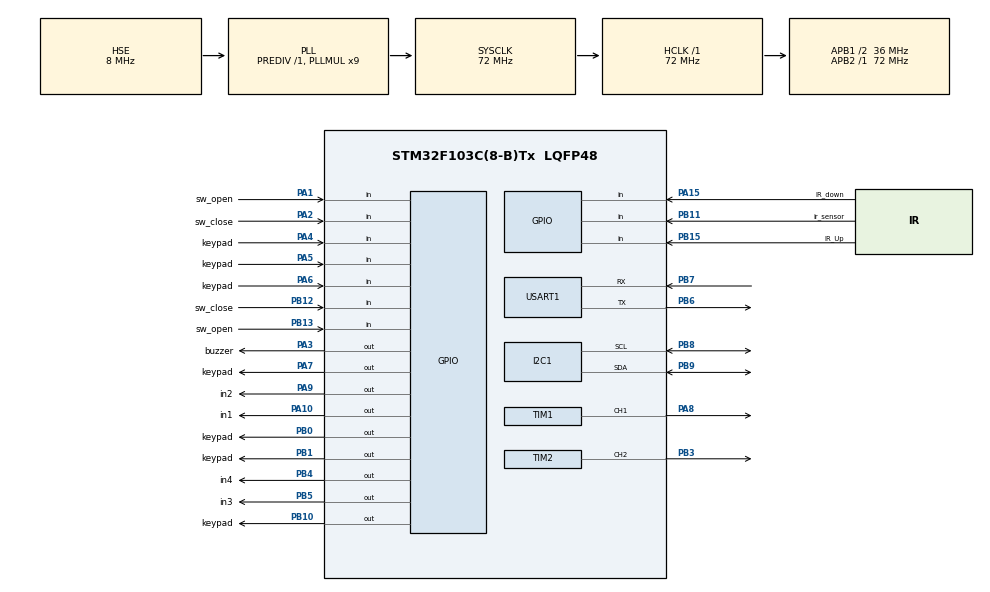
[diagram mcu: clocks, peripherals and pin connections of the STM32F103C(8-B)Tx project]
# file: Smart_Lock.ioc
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Mcu.Family=STM32F1
Mcu.Name=STM32F103C(8-B)Tx
Mcu.Package=LQFP48
NVIC.PriorityGroup=NVIC_PRIORITYGROUP_4
PA1.GPIO_Label=sw_open
PA1.GPIO_PuPd=GPIO_NOPULL
PA1.Signal=GPIO_Input
PA10.GPIO_Label=in1
PA10.Signal=GPIO_Output
PA13.Mode=Serial_Wire
PA13.Signal=SYS_JTMS-SWDIO
PA14.Mode=Serial_Wire
PA14.Signal=SYS_JTCK-SWCLK
PA15.GPIO_Label=IR_down
PA15.GPIO_PuPd=GPIO_PULLUP
PA15.Signal=GPIO_Input
PA2.GPIO_Label=sw_close
PA2.GPIO_PuPd=GPIO_NOPULL
PA2.Signal=GPIO_Input
PA3.GPIO_Label=buzzer
PA3.Signal=GPIO_Output
PA4.GPIO_Label=keypad
PA4.GPIO_PuPd=GPIO_PULLUP
PA4.Signal=GPIO_Input
PA5.GPIO_Label=keypad
PA5.GPIO_PuPd=GPIO_PULLUP
PA5.Signal=GPIO_Input
PA6.GPIO_Label=keypad
PA6.GPIO_PuPd=GPIO_PULLUP
PA6.Signal=GPIO_Input
PA7.GPIO_Label=keypad
PA7.Signal=GPIO_Output
PA8.Signal=S_TIM1_CH1
PA9.GPIO_Label=in2
PA9.Signal=GPIO_Output
PB0.GPIO_Label=keypad
PB0.Signal=GPIO_Output
PB1.GPIO_Label=keypad
PB1.Signal=GPIO_Output
PB10.GPIO_Label=keypad
PB10.Signal=GPIO_Output
PB11.GPIO_Label=ir_sensor
PB11.GPIO_PuPd=GPIO_PULLUP
PB11.Signal=GPIO_Input
PB12.GPIO_Label=sw_close
PB12.GPIO_PuPd=GPIO_NOPULL
PB12.Signal=GPIO_Input
PB13.GPIO_Label=sw_open
PB13.GPIO_PuPd=GPIO_NOPULL
PB13.Signal=GPIO_Input
PB15.GPIO_Label=IR_Up
PB15.GPIO_PuPd=GPIO_PULLUP
PB15.Signal=GPIO_Input
PB3.Signal=S_TIM2_CH2
PB4.GPIO_Label=in4
PB4.Signal=GPIO_Output
PB5.GPIO_Label=in3
PB5.Signal=GPIO_Output
PB6.Mode=Asynchronous
PB6.Signal=USART1_TX
PB7.Mode=Asynchronous
PB7.Signal=USART1_RX
PB8.Mode=I2C
PB8.Signal=I2C1_SCL
PB9.Mode=I2C
PB9.Signal=I2C1_SDA
PD0-OSC_IN.Mode=HSE-External-Oscillator
PD0-OSC_IN.Signal=RCC_OSC_IN
PD1-OSC_OUT.Mode=HSE-External-Oscillator
PD1-OSC_OUT.Signal=RCC_OSC_OUT
ProjectManager.HeapSize=0x200
ProjectManager.StackSize=0x400
ProjectManager.TargetToolchain=MDK-ARM V5.32
RCC.AHBFreq_Value=72000000
RCC.APB1CLKDivider=RCC_HCLK_DIV2
RCC.APB1Freq_Value=36000000
RCC.APB1TimFreq_Value=72000000
RCC.APB2Freq_Value=72000000
RCC.APB2TimFreq_Value=72000000
RCC.HCLKFreq_Value=72000000
RCC.PLLMUL=RCC_PLL_MUL9
RCC.PLLSourceVirtual=RCC_PLLSOURCE_HSE
RCC.SYSCLKFreq_VALUE=72000000
RCC.SYSCLKSource=RCC_SYSCLKSOURCE_PLLCLK
RCC.USBFreq_Value=72000000
SH.S_TIM1_CH1.0=TIM1_CH1,PWM Generation1 CH1
SH.S_TIM2_CH2.0=TIM2_CH2,PWM Generation2 CH2
TIM1.AutoReloadPreload=TIM_AUTORELOAD_PRELOAD_ENABLE
TIM1.Channel-PWM\ Generation1\ CH1=TIM_CHANNEL_1
TIM1.Period=999
TIM1.Prescaler=71
TIM1.Pulse-PWM\ Generation1\ CH1=1000
TIM2.AutoReloadPreload=TIM_AUTORELOAD_PRELOAD_ENABLE
TIM2.Channel-PWM\ Generation2\ CH2=TIM_CHANNEL_2
TIM2.Period=999
TIM2.Prescaler=71
USART1.VirtualMode=VM_ASYNC
board=custom

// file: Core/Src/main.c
/* USER CODE BEGIN Header */
/**
  ******************************************************************************
  * @file           : main.c
  * @brief          : Main program body
  ******************************************************************************
  * @attention
  *
  * Copyright (c) 2026 STMicroelectronics.
  * All rights reserved.
  *
  * This software is licensed under terms that can be found in the LICENSE file
  * in the root directory of this software component.
  * If no LICENSE file comes with this software, it is provided AS-IS.
  *
  ******************************************************************************
  */
/* USER CODE END Header */
#include "main.h"

/* USER CODE BEGIN Includes */
#include <stdint.h>
#include "string.h"
#include "lcd_i2c_quang.h"
#include "keypad_3x4_quang.h"
#include "fonts.h"
#include "ssd1306.h"
/* USER CODE END Includes */

/* USER CODE BEGIN PD */
#define R1_GPIO_Port  GPIOB
#define R2_GPIO_Port	GPIOB
#define R3_GPIO_Port	GPIOB
#define R4_GPIO_Port 	GPIOA

#define R1_Pin	GPIO_PIN_10
#define R2_Pin	GPIO_PIN_1
#define R3_Pin	GPIO_PIN_0
#define R4_Pin	GPIO_PIN_7

#define C1_GPIO_Port	GPIOA
#define C2_GPIO_Port	GPIOA
#define C3_GPIO_Port 	GPIOA

#define C1_Pin	GPIO_PIN_6
#define C2_Pin	GPIO_PIN_5
#define C3_Pin	GPIO_PIN_4

#define RC522_CS_GPIO_Port  GPIOA
#define RC522_CS_Pin        GPIO_PIN_11
#define RC522_RST_GPIO_Port GPIOA
#define RC522_RST_Pin       GPIO_PIN_12

#define IR_Pin           GPIO_PIN_11  // IR cam bien cua 1 (GPIOB) - phong ngang cua
#define IR_INSIDE1_Pin   GPIO_PIN_11  // IR phia TRONG cua 1 (PB11) - nguoi ra ngoai
#define IR_INSIDE1_Port  GPIOB

// ========= CUA 2 (PHONG MO) =========
// TIM2_CH2  : PB3  (PWM dong co cua 2 - can AFIO remap)
// Motor IN3 : PB4  (chieu mo)
// Motor IN4 : PB5  (chieu dong)
// SW mo   (CTHT mo)  : PA12 (PULLUP, cham -> RESET)
// SW dong (CTHT dong): PA11 (PULLUP, cham -> RESET)
// IR phong ngang cua 2 / IR phia TRONG: PB15 (PULLUP, co vat -> RESET)
// IR tiep can cua 2 (phia ngoai)      : PA15 (PULLUP, co nguoi -> RESET) -> Face ID
#define DOOR2_IN3_Pin        GPIO_PIN_4
#define DOOR2_IN4_Pin        GPIO_PIN_5
#define DOOR2_IN3_Port       GPIOB
#define DOOR2_IN4_Port       GPIOB
// PA11/PA12 la chan USB D-/D+ tren STM32F103 -> co pull-up phancung USB -> KHONG dung lam GPIO doc switch!
// Chuyen sang PB12 (sw mo) va PB13 (sw dong) - chan GPIO thuan, khong co phan cung dac biet
#define DOOR2_SW_OPEN_Pin    GPIO_PIN_12  // PB12: CTHT mo cua 2
#define DOOR2_SW_CLOSE_Pin   GPIO_PIN_13  // PB13: CTHT dong cua 2
#define DOOR2_SW_Port        GPIOB
#define DOOR2_IR_Pin         GPIO_PIN_15  // PB15: IR phong ngang + IR phia trong cua 2
#define DOOR2_IR_Port        GPIOB
#define IR_APPROACH_Pin      GPIO_PIN_15  // IR tiep can cua 2 - phia ngoai (PA15)
#define IR_APPROACH_Port     GPIOA
/* USER CODE END PD */

I2C_HandleTypeDef hi2c1;

TIM_HandleTypeDef htim1;
TIM_HandleTypeDef htim2;

UART_HandleTypeDef huart1;

/* USER CODE BEGIN PV */
//SPI_HandleTypeDef hspi2; // Dummy hspi2 de MFRC522.c bien dich duoc (Neu muon dung the tu, ban can enable SPI2 trong CubeMX!)
I2C_HandleTypeDef hi2c1; /* Thêm lại I2C handle cho LCD */
I2C_LCD_HandleTypeDef lcd1;

// ========== CUA 1 ==========
uint8_t door_state = 0;
uint32_t door_timer = 0;
uint8_t door_lcd_updated = 0;

// ========== CUA 2 (PHONG MO) ==========
uint8_t  door2_state = 0;   // 0=dong, 1=dang mo, 2=da mo (dang phau thuat), 3=dang dong
uint32_t door2_timer = 0;
uint8_t  door2_updated = 0;
char     doctor_name[32] = ""; // Ten bac si da xac minh

// ── SURGERY STATE MACHINE ──
uint8_t  is_surgery_ongoing = 0; // Co trang thai ca mo (1=dang mo, 0=trong)

// IR tiep can cua 2 (PA15): theo doi trang thai de gui lenh F mot lan
uint8_t  ir_approach_sent = 0; // Da gui lenh F chua (tranh gui nhieu lan)

uint8_t rxData;
uint8_t stt;
char pass[] = "1234";
char input_pass[21];
int input_idx = 0;
int trang_thai = 0;
uint32_t trang_thai_cho;

uint16_t sai_pass = 0;

// Buffer nhan UART de doc ten bac si
char uart_buf[64];
uint8_t uart_buf_idx = 0;

Keypad_Cfg_t myKeypad = {
	.R_Port = {R1_GPIO_Port, R2_GPIO_Port, R3_GPIO_Port, R4_GPIO_Port},
	.R_Pin = {R1_Pin, R2_Pin, R3_Pin, R4_Pin},
	.C_Port = {C1_GPIO_Port, C2_GPIO_Port, C3_GPIO_Port},
  .C_Pin  = {C1_Pin, C2_Pin, C3_Pin}
};
/* USER CODE END PV */

void SystemClock_Config(void);
static void MX_GPIO_Init(void);
static void MX_TIM1_Init(void);
static void MX_USART1_UART_Init(void);
static void MX_I2C1_Init(void);
static void MX_TIM2_Init(void);
/* USER CODE BEGIN PFP */
static void MX_USART1_UART_Init(void);
void ESP_SendStatus(uint8_t c) { HAL_UART_Transmit(&huart1, &c, 1, 100); }
/* Bien co: sau khi cua 1 dong xong, chuyen sang layer 2 */
uint8_t pending_layer2 = 0;

void menu(){
    lcd_clear(&lcd1);
    lcd_gotoxy(&lcd1, 0, 0);
    lcd_puts(&lcd1, "=== CUA VAO ====");
    lcd_gotoxy(&lcd1, 0, 1);
    lcd_puts(&lcd1, "Nhap mat khau:");
    lcd_gotoxy(&lcd1, 0, 2);
    lcd_puts(&lcd1, "Bam # de xac nhan");
    lcd_gotoxy(&lcd1, 0, 3);
    lcd_puts(&lcd1, "Bam * de xoa");
}
/* USER CODE END PFP */

int main(void)
{

  /* MCU Configuration--------------------------------------------------------*/

  /* Reset of all peripherals, Initializes the Flash interface and the Systick. */
  HAL_Init();

  /* Configure the system clock */
  SystemClock_Config();

  /* Initialize all configured peripherals */
  MX_GPIO_Init();
  MX_TIM1_Init();
  MX_USART1_UART_Init();
  MX_I2C1_Init();
  MX_TIM2_Init();
  /* USER CODE BEGIN 2 */
		HAL_TIM_PWM_Start(&htim1, TIM_CHANNEL_1);
		__HAL_TIM_MOE_ENABLE(&htim1);
		HAL_TIM_PWM_Start(&htim2, TIM_CHANNEL_2); // Cua 2

		lcd1.hi2c = &hi2c1;
    lcd1.address = 0x4E;
    lcd_init(&lcd1);

    // OLED cho cua 2 - dung chung hi2c1 voi LCD (khac dia chi I2C)
    ssd1306_Init(&hi2c1);
    ssd1306_Fill(Black);
    ssd1306_SetCursor(0, 0);
    ssd1306_WriteString("CUA PHONG MO", Font_7x10, White);
    ssd1306_SetCursor(0, 14);
    ssd1306_WriteString("Vui Long Dua", Font_7x10, White);
    ssd1306_SetCursor(0, 26);
    ssd1306_WriteString("Khuon Mat", Font_7x10, White);
    ssd1306_UpdateScreen(&hi2c1);

    menu();
		HAL_GPIO_WritePin(GPIOC, GPIO_PIN_13, GPIO_PIN_SET);
		ESP_SendStatus('A');

		/* Cau hinh CTHT cua 1: PA1=mo, PA2=dong (PULLUP) */
		/* Cau hinh cua 2: PA12=sw_mo, PA11=sw_dong, PB15=IR, PB4=IN3, PB5=IN4 */
		{
				GPIO_InitTypeDef sw_cfg = {0};

				// --- Cua 1: PA1 (sw mo), PA2 (sw dong) – input PULLUP ---
				sw_cfg.Pin  = GPIO_PIN_1 | GPIO_PIN_2;
				sw_cfg.Mode = GPIO_MODE_INPUT;
				sw_cfg.Pull = GPIO_PULLUP;
				HAL_GPIO_Init(GPIOA, &sw_cfg);

				// --- Cua 2: PB12 (sw mo), PB13 (sw dong) – input PULLUP ---
				// (Khong dung PA11/PA12 vi la chan USB co pull-up phan cung)
				sw_cfg.Pin  = DOOR2_SW_OPEN_Pin | DOOR2_SW_CLOSE_Pin;
				sw_cfg.Mode = GPIO_MODE_INPUT;
				sw_cfg.Pull = GPIO_PULLUP;
				HAL_GPIO_Init(DOOR2_SW_Port, &sw_cfg);

				// --- Cua 2: PB15 IR cam bien – input PULLUP ---
				sw_cfg.Pin  = DOOR2_IR_Pin;
				sw_cfg.Mode = GPIO_MODE_INPUT;
				sw_cfg.Pull = GPIO_PULLUP;
				HAL_GPIO_Init(DOOR2_IR_Port, &sw_cfg);

				// --- IR tiep can cua 2: PA15 – input PULLUP ---
				sw_cfg.Pin  = IR_APPROACH_Pin;
				sw_cfg.Mode = GPIO_MODE_INPUT;
				sw_cfg.Pull = GPIO_PULLUP;
				HAL_GPIO_Init(IR_APPROACH_Port, &sw_cfg);

				// --- Cua 2: PB4 (IN3), PB5 (IN4) – output PP ---
				sw_cfg.Pin   = DOOR2_IN3_Pin | DOOR2_IN4_Pin;
				sw_cfg.Mode  = GPIO_MODE_OUTPUT_PP;
				sw_cfg.Pull  = GPIO_NOPULL;
				sw_cfg.Speed = GPIO_SPEED_FREQ_LOW;
				HAL_GPIO_Init(GPIOB, &sw_cfg);
				HAL_GPIO_WritePin(GPIOB, DOOR2_IN3_Pin | DOOR2_IN4_Pin, GPIO_PIN_RESET);
		}
  /* USER CODE END 2 */

  /* Infinite loop */
  while (1)
  {

    /* USER CODE BEGIN 3 */

		// =====================================================
		// CUA 1 STATE MACHINE (Limit Switch Based)
		//   State 0: Cua dong
		//          → IR PB11 (phia trong) phat hien nguoi -> tu mo
		//   State 1: Dang mo  -> TIM1 PWM den khi sw_open (PA1)
		//   State 2: Cua da mo -> cho IR 5s roi dong
		//   State 3: Dang dong -> TIM1 PWM den khi sw_close (PA2)
		// =====================================================

		/* --- CUA 1: Tu dong mo khi co nguoi tu TRONG ra (IR PB11) --- */
		if (door_state == 0) {
				if (HAL_GPIO_ReadPin(IR_INSIDE1_Port, IR_INSIDE1_Pin) == GPIO_PIN_RESET) {
						// Co nguoi phia trong -> mo cua 1
						lcd_clear(&lcd1);
						lcd_gotoxy(&lcd1, 0, 0);
						lcd_puts(&lcd1, "CUA 1: TU MO");
						lcd_gotoxy(&lcd1, 0, 1);
						lcd_puts(&lcd1, "Nguoi ra ngoai");
						HAL_GPIO_WritePin(GPIOC, GPIO_PIN_13, GPIO_PIN_RESET);
						ESP_SendStatus('U');
						door_lcd_updated = 0;
						door_state = 1;
						door_timer = HAL_GetTick();
				}
		}

		if (door_state == 1) {
				if (door_lcd_updated != 1) {
						door_lcd_updated = 1;
						lcd_clear(&lcd1);
						lcd_gotoxy(&lcd1, 0, 0);
						lcd_puts(&lcd1, "CUA 1: DANG MO");
						lcd_gotoxy(&lcd1, 0, 1);
						lcd_puts(&lcd1, "Dong co dang quay");
				}
				__HAL_TIM_SET_COMPARE(&htim1, TIM_CHANNEL_1, 999);
				HAL_GPIO_WritePin(GPIOA, GPIO_PIN_9,  GPIO_PIN_SET);
				HAL_GPIO_WritePin(GPIOA, GPIO_PIN_10, GPIO_PIN_RESET);

				// CTHT cua 1: NO->PA1, C->GND, PULLUP => nhan xuong LOW=RESET -> dung
				if (HAL_GPIO_ReadPin(GPIOA, GPIO_PIN_1) == GPIO_PIN_RESET || (HAL_GetTick() - door_timer > 15000)) {
						__HAL_TIM_SET_COMPARE(&htim1, TIM_CHANNEL_1, 0);
						HAL_GPIO_WritePin(GPIOA, GPIO_PIN_9,  GPIO_PIN_RESET);
						HAL_GPIO_WritePin(GPIOA, GPIO_PIN_10, GPIO_PIN_RESET);
						door_state = 2;
						door_timer = HAL_GetTick();
						door_lcd_updated = 0;
				}

		} else if (door_state == 2) {
				if (door_lcd_updated != 2) {
						door_lcd_updated = 2;
						lcd_clear(&lcd1);
						lcd_gotoxy(&lcd1, 0, 0);
						lcd_puts(&lcd1, "CUA 1: DA MO");
						lcd_gotoxy(&lcd1, 0, 1);
						lcd_puts(&lcd1, "Cho nguoi di vao");
				}
				if (HAL_GPIO_ReadPin(GPIOB, IR_Pin) == GPIO_PIN_RESET) {
						door_timer = HAL_GetTick();
				}
				if (HAL_GetTick() - door_timer > 5000) {
						door_state = 3;
						door_timer = HAL_GetTick();
						door_lcd_updated = 0;
				}

		} else if (door_state == 3) {
				if (door_lcd_updated != 3) {
						door_lcd_updated = 3;
						lcd_clear(&lcd1);
						lcd_gotoxy(&lcd1, 0, 0);
						lcd_puts(&lcd1, "CUA 1: DANG DONG");
						lcd_gotoxy(&lcd1, 0, 1);
						lcd_puts(&lcd1, "Dong co dang quay");
				}
				if (HAL_GPIO_ReadPin(GPIOB, IR_Pin) == GPIO_PIN_RESET) {
						__HAL_TIM_SET_COMPARE(&htim1, TIM_CHANNEL_1, 0);
						HAL_GPIO_WritePin(GPIOA, GPIO_PIN_9,  GPIO_PIN_RESET);
						HAL_GPIO_WritePin(GPIOA, GPIO_PIN_10, GPIO_PIN_RESET);
						door_state = 1;
						door_timer = HAL_GetTick();
						door_lcd_updated = 0;
				} else {
						__HAL_TIM_SET_COMPARE(&htim1, TIM_CHANNEL_1, 999);
						HAL_GPIO_WritePin(GPIOA, GPIO_PIN_9,  GPIO_PIN_RESET);
						HAL_GPIO_WritePin(GPIOA, GPIO_PIN_10, GPIO_PIN_SET);

						// CTHT cua 1: NO->PA2, C->GND, PULLUP => nhan xuong LOW=RESET -> dung
				if (HAL_GPIO_ReadPin(GPIOA, GPIO_PIN_2) == GPIO_PIN_RESET || (HAL_GetTick() - door_timer > 15000)) {
								__HAL_TIM_SET_COMPARE(&htim1, TIM_CHANNEL_1, 0);
								HAL_GPIO_WritePin(GPIOA, GPIO_PIN_9,  GPIO_PIN_RESET);
								HAL_GPIO_WritePin(GPIOA, GPIO_PIN_10, GPIO_PIN_RESET);
								HAL_GPIO_WritePin(GPIOC, GPIO_PIN_13, GPIO_PIN_SET);
								ESP_SendStatus('L');
								door_state = 0;
								door_lcd_updated = 0;

								/* Cua 1 phia ngoai da dong xong -> tro ve Menu (nhap mat khau) */
								trang_thai = 0;
								input_idx = 0;
								menu();
						}
				}
		}

		// =====================================================
		// CUA 2 STATE MACHINE (Phong Mo - TIM2_CH2 = PB3)
		//   State 0: Dong  – OLED: "Vui Long Dua Khuon Mat"
		//             IR PA15 (tiep can) phat hien nguoi -> gui lenh F (Face ID)
		//   State 1: Dang mo  -> PWM TIM2, cho PA12 (sw mo)
		//   State 2: Da mo    -> OLED: "Dang Phau Thuat / Bac si: XXX"
		//             IR PB15 reset timer khi co nguoi, dong sau 5s
		//   State 3: Dang dong -> PWM TIM2, cho PA11 (sw dong)
		//             IR PB15 phat hien -> mo lai
		// Motor: PB4=IN3 (mo), PB5=IN4 (dong)
		// =====================================================

		/* --- CUA 2: Tu dong mo khi co nguoi tu TRONG ra (IR PB15) --- */
		if (door2_state == 0) {
				if (HAL_GPIO_ReadPin(DOOR2_IR_Port, DOOR2_IR_Pin) == GPIO_PIN_RESET) {
						// Co nguoi phia trong cua 2 -> mo cua 2 ngay (khong can Face ID)
						ssd1306_Fill(Black);
						ssd1306_SetCursor(0, 0);
						ssd1306_WriteString("CUA 2: TU MO", Font_7x10, White);
						ssd1306_SetCursor(0, 14);
						ssd1306_WriteString("Nguoi Ra Ngoai", Font_7x10, White);
						ssd1306_UpdateScreen(&hi2c1);
						ir_approach_sent = 0; // Reset co de cho phep Face ID lan sau
						door2_state = 1;
						door2_timer = HAL_GetTick();
						door2_updated = 0;
				} else {
						/* --- IR TIEP CAN (PA15): Kich hoat Face ID khi co nguoi den gan tu phia ngoai --- */
						if (HAL_GPIO_ReadPin(IR_APPROACH_Port, IR_APPROACH_Pin) == GPIO_PIN_RESET) {
								// Co nguoi tiep can phia ngoai: gui lenh F mot lan
								if (ir_approach_sent == 0) {
										ir_approach_sent = 1;
										ESP_SendStatus('F'); /* Yeu cau Face ID cho Cua 2 */
										ssd1306_Fill(Black);
										ssd1306_SetCursor(0, 0);
										ssd1306_WriteString("Nhan Dien", Font_7x10, White);
										ssd1306_SetCursor(0, 14);
										ssd1306_WriteString("Khuon Mat...", Font_7x10, White);
										ssd1306_UpdateScreen(&hi2c1);
								}
						} else {
								// Khong con nguoi o PA15: reset co de lan sau co the gui lai
								if (ir_approach_sent != 0) {
										ir_approach_sent = 0;
										// OLED tro ve man hinh cho
										ssd1306_Fill(Black);
										ssd1306_SetCursor(0, 0);
										ssd1306_WriteString("CUA PHONG MO", Font_7x10, White);
										ssd1306_SetCursor(0, 14);
										ssd1306_WriteString("Vui Long Dua", Font_7x10, White);
										ssd1306_SetCursor(0, 26);
										ssd1306_WriteString("Khuon Mat", Font_7x10, White);
										ssd1306_UpdateScreen(&hi2c1);
								}
						}
				}
		}

		if (door2_state == 1) { // Dang mo cua 2
				if (door2_updated != 1) {
						door2_updated = 1;
						ssd1306_Fill(Black);
						ssd1306_SetCursor(0, 0);
						ssd1306_WriteString("CUA 2: DANG MO", Font_7x10, White);
						ssd1306_UpdateScreen(&hi2c1);
				}
				// Motor cua 2 chieu mo: IN3(PB4)=1, IN4(PB5)=0
				__HAL_TIM_SET_COMPARE(&htim2, TIM_CHANNEL_2, 999);
				HAL_GPIO_WritePin(DOOR2_IN3_Port, DOOR2_IN3_Pin, GPIO_PIN_SET);
				HAL_GPIO_WritePin(DOOR2_IN4_Port, DOOR2_IN4_Pin, GPIO_PIN_RESET);

				// CTHT cua 2 mo: NO->PA12, C->GND, PULLUP => nhan xuong LOW=RESET -> dung
				if (HAL_GPIO_ReadPin(DOOR2_SW_Port, DOOR2_SW_OPEN_Pin) == GPIO_PIN_RESET
					|| (HAL_GetTick() - door2_timer > 15000)) {
						__HAL_TIM_SET_COMPARE(&htim2, TIM_CHANNEL_2, 0);
						HAL_GPIO_WritePin(DOOR2_IN3_Port, DOOR2_IN3_Pin, GPIO_PIN_RESET);
						HAL_GPIO_WritePin(DOOR2_IN4_Port, DOOR2_IN4_Pin, GPIO_PIN_RESET);
						door2_state = 2;
						door2_timer = HAL_GetTick();
						door2_updated = 0;
				}

		} else if (door2_state == 2) { // Cua 2 da mo - cho nguoi di qua
				if (door2_updated != 2) {
						door2_updated = 2;
						if (is_surgery_ongoing) {
								char oled_line2[32];
								snprintf(oled_line2, sizeof(oled_line2), "BS: %s", doctor_name);
								ssd1306_Fill(Black);
								ssd1306_SetCursor(0, 0);
								ssd1306_WriteString("DANG PHAU THUAT", Font_7x10, White);
								ssd1306_SetCursor(0, 14);
								ssd1306_WriteString(oled_line2, Font_7x10, White);
								ssd1306_SetCursor(0, 28);
								ssd1306_WriteString("Man hinh KHOA", Font_7x10, White);
								ssd1306_UpdateScreen(&hi2c1);
						} else {
								ssd1306_Fill(Black);
								ssd1306_SetCursor(0, 0);
								ssd1306_WriteString("CUA 2: DA MO", Font_7x10, White);
								ssd1306_UpdateScreen(&hi2c1);
						}
				}
				// IR PB15 hoac IR PA15 phat hien nguoi -> reset timer (giu cua mo)
				if (HAL_GPIO_ReadPin(DOOR2_IR_Port, DOOR2_IR_Pin) == GPIO_PIN_RESET
					|| HAL_GPIO_ReadPin(IR_APPROACH_Port, IR_APPROACH_Pin) == GPIO_PIN_RESET) {
						door2_timer = HAL_GetTick();
				}
				// Tu dong dong sau 5s khong co nguoi
				if (HAL_GetTick() - door2_timer > 5000) {
						door2_state = 3;
						door2_timer = HAL_GetTick();
						door2_updated = 0;
				}

		} else if (door2_state == 3) { // Dang dong cua 2
				if (door2_updated != 3) {
						door2_updated = 3;
						ssd1306_Fill(Black);
						ssd1306_SetCursor(0, 0);
						ssd1306_WriteString("CUA 2: DANG DONG", Font_7x10, White);
						ssd1306_UpdateScreen(&hi2c1);
				}
				// IR phat hien nguoi khi dang dong -> mo lai
				if (HAL_GPIO_ReadPin(DOOR2_IR_Port, DOOR2_IR_Pin) == GPIO_PIN_RESET
					|| HAL_GPIO_ReadPin(IR_APPROACH_Port, IR_APPROACH_Pin) == GPIO_PIN_RESET) {
						__HAL_TIM_SET_COMPARE(&htim2, TIM_CHANNEL_2, 0);
						HAL_GPIO_WritePin(DOOR2_IN3_Port, DOOR2_IN3_Pin, GPIO_PIN_RESET);
						HAL_GPIO_WritePin(DOOR2_IN4_Port, DOOR2_IN4_Pin, GPIO_PIN_RESET);
						door2_state = 1;
						door2_timer = HAL_GetTick();
						door2_updated = 0;
				} else {
						// Motor cua 2 chieu dong: IN3(PB4)=0, IN4(PB5)=1
						__HAL_TIM_SET_COMPARE(&htim2, TIM_CHANNEL_2, 999);
						HAL_GPIO_WritePin(DOOR2_IN3_Port, DOOR2_IN3_Pin, GPIO_PIN_RESET);
						HAL_GPIO_WritePin(DOOR2_IN4_Port, DOOR2_IN4_Pin, GPIO_PIN_SET);

						if (HAL_GPIO_ReadPin(DOOR2_SW_Port, DOOR2_SW_CLOSE_Pin) == GPIO_PIN_RESET
							|| (HAL_GetTick() - door2_timer > 15000)) {
								__HAL_TIM_SET_COMPARE(&htim2, TIM_CHANNEL_2, 0);
								HAL_GPIO_WritePin(DOOR2_IN3_Port, DOOR2_IN3_Pin, GPIO_PIN_RESET);
								HAL_GPIO_WritePin(DOOR2_IN4_Port, DOOR2_IN4_Pin, GPIO_PIN_RESET);

								if (is_surgery_ongoing) {
										// ── CA MO DANG DIEN RA: Cua dong xong -> hien lai "Dang Phau Thuat" ──
										door2_state = 0;
										door2_updated = 0;
										char oled_line2[32];
										snprintf(oled_line2, sizeof(oled_line2), "BS: %s", doctor_name);
										ssd1306_Fill(Black);
										ssd1306_SetCursor(0, 0);
										ssd1306_WriteString("DANG PHAU THUAT", Font_7x10, White);
										ssd1306_SetCursor(0, 14);
										ssd1306_WriteString(oled_line2, Font_7x10, White);
										ssd1306_SetCursor(0, 28);
										ssd1306_WriteString("Man hinh KHOA", Font_7x10, White);
										ssd1306_UpdateScreen(&hi2c1);
								} else {
										// ── KHONG CO CA MO: Reset ve man hinh cho ──
										door2_state = 0;
										door2_updated = 0;
										memset(doctor_name, 0, sizeof(doctor_name));
										ssd1306_Fill(Black);
										ssd1306_SetCursor(0, 0);
										ssd1306_WriteString("CUA PHONG MO", Font_7x10, White);
										ssd1306_SetCursor(0, 14);
										ssd1306_WriteString("Vui Long Dua", Font_7x10, White);
										ssd1306_SetCursor(0, 26);
										ssd1306_WriteString("Khuon Mat", Font_7x10, White);
										ssd1306_UpdateScreen(&hi2c1);
								}
						}
				}
		}

		/* Nhan lenh tu ESP32 qua UART1 */
		__HAL_UART_CLEAR_OREFLAG(&huart1);
		if (HAL_UART_Receive(&huart1, &rxData, 1, 5) == HAL_OK) {
				if (rxData == 'O') {
						// Lenh mo CUA 1 tu Web/App
						trang_thai = 0;
						input_idx = 0;
						lcd_clear(&lcd1);
						lcd_gotoxy(&lcd1, 0, 0);
						lcd_puts(&lcd1, "LENH TU WEB");
						lcd_gotoxy(&lcd1, 0, 1);
						lcd_puts(&lcd1, ">> Mo Cua 1...");
						HAL_Delay(800);
						HAL_GPIO_WritePin(GPIOC, GPIO_PIN_13, GPIO_PIN_RESET);
						ESP_SendStatus('U');
						door_lcd_updated = 0;
						door_state = 1;
						door_timer = HAL_GetTick();
				}
				else if (rxData == 'G') {
						// ── BAT DAU CA MO: Face ID OK -> luu ten BS, bat co surgery ──
						uart_buf_idx = 0;
						memset(uart_buf, 0, sizeof(uart_buf));
						uint32_t tTimeout = HAL_GetTick();
						while ((HAL_GetTick() - tTimeout) < 500) {
								uint8_t ch;
								if (HAL_UART_Receive(&huart1, &ch, 1, 50) == HAL_OK) {
										if (ch == '\n' || uart_buf_idx >= 30) break;
										uart_buf[uart_buf_idx++] = (char)ch;
								}
						}
						uart_buf[uart_buf_idx] = '\0';
						strncpy(doctor_name, uart_buf, sizeof(doctor_name) - 1);
						is_surgery_ongoing = 1; // ★ Bat co ca mo

						ssd1306_Fill(Black);
						ssd1306_SetCursor(0, 0);
						ssd1306_WriteString("XAC MINH OK!", Font_7x10, White);
						ssd1306_SetCursor(0, 16);
						ssd1306_WriteString("Bat Dau Ca Mo", Font_7x10, White);
						ssd1306_UpdateScreen(&hi2c1);
						HAL_Delay(800);

						door2_state = 1;
						door2_timer = HAL_GetTick();
						door2_updated = 0;
				}
				else if (rxData == 'H') {
						// ── MO CUA 2 KHONG CAP NHAT TEN (nhan vien vao/ra khi dang mo) ──
						if (door2_state == 0) {
								// Chi mo cua, khong thay doi doctor_name hay OLED
								ssd1306_Fill(Black);
								ssd1306_SetCursor(0, 0);
								ssd1306_WriteString("Nhan Vien Vao", Font_7x10, White);
								ssd1306_SetCursor(0, 14);
								ssd1306_WriteString("Mo Cua...", Font_7x10, White);
								ssd1306_UpdateScreen(&hi2c1);
								door2_state = 1;
								door2_timer = HAL_GetTick();
								door2_updated = 0;
						}
						// Neu cua dang mo/dong thi khong lam gi (cua da xu ly)
				}
				else if (rxData == 'C') {
						// ── HOAN THANH CA MO: Y ta bam tu Web -> reset toan bo ──
						is_surgery_ongoing = 0;
						memset(doctor_name, 0, sizeof(doctor_name));
						ir_approach_sent = 0;

						// Hien thi thong bao hoan thanh
						ssd1306_Fill(Black);
						ssd1306_SetCursor(0, 0);
						ssd1306_WriteString("CA MO HOAN THANH", Font_7x10, White);
						ssd1306_SetCursor(0, 16);
						ssd1306_WriteString("Phong Da Trong", Font_7x10, White);
						ssd1306_UpdateScreen(&hi2c1);
						HAL_Delay(2000);

						// OLED tro ve trang cho ban dau
						ssd1306_Fill(Black);
						ssd1306_SetCursor(0, 0);
						ssd1306_WriteString("CUA PHONG MO", Font_7x10, White);
						ssd1306_SetCursor(0, 14);
						ssd1306_WriteString("Vui Long Dua", Font_7x10, White);
						ssd1306_SetCursor(0, 26);
						ssd1306_WriteString("Khuon Mat", Font_7x10, White);
						ssd1306_UpdateScreen(&hi2c1);

						// Neu cua dang mo -> buoc dong lai
						if (door2_state == 2) {
								door2_state = 3;
								door2_timer = HAL_GetTick();
								door2_updated = 0;
						}
				}
				else if (rxData == 'N') {
						// Face ID that bai
						ir_approach_sent = 0;
						ssd1306_Fill(Black);
						ssd1306_SetCursor(0, 0);
						ssd1306_WriteString("XAC MINH THAT", Font_7x10, White);
						ssd1306_SetCursor(0, 14);
						ssd1306_WriteString("BAI!", Font_7x10, White);
						ssd1306_SetCursor(0, 28);
						ssd1306_WriteString("Vui Long Thu Lai", Font_7x10, White);
						ssd1306_UpdateScreen(&hi2c1);
						HAL_Delay(2000);
						ssd1306_Fill(Black);
						ssd1306_SetCursor(0, 0);
						ssd1306_WriteString("CUA PHONG MO", Font_7x10, White);
						ssd1306_SetCursor(0, 14);
						ssd1306_WriteString("Vui Long Dua", Font_7x10, White);
						ssd1306_SetCursor(0, 26);
						ssd1306_WriteString("Khuon Mat", Font_7x10, White);
						ssd1306_UpdateScreen(&hi2c1);
				}
				else if (rxData == 'P') { ESP_SendStatus('A'); }
		}

		if(trang_thai == 1){
				if (HAL_GetTick() - trang_thai_cho > 10000) /* Timeout 10s khong nhan phim -> tro ve menu */
							{
									input_idx = 0;
									trang_thai = 0;
									menu();
							}
		}

		char key = Keypad_Read(&myKeypad);
		if (key != 0) {
				trang_thai_cho = HAL_GetTick();
				/* ==============================================
				   LOP 1: Nhap mat khau
				   - Chua nhap gi thi bat dau nhap ngay
				   - Moi phim so duoc tu dong them vao
				   ============================================== */
				if (trang_thai == 0) {
						/* Bat ky phim so nao -> bat dau nhap mat khau */
						if (key >= '0' && key <= '9') {
								trang_thai = 1;
								input_idx = 0;
								lcd_clear(&lcd1);
								lcd_gotoxy(&lcd1, 0, 0);
								lcd_puts(&lcd1, "Nhap mat khau:");
								/* Them phim vua nhan vao */
								input_pass[input_idx++] = key;
								lcd_gotoxy(&lcd1, 0, 1);
								lcd_putchar(&lcd1, '*');
						}
				}
				else if (trang_thai == 1) {
				if (key == '#') {
						input_pass[input_idx] = '\0';
						if (strcmp(input_pass, pass) == 0) {
							/* === LOP 1 DUNG: Mo Cua 1 ngay, sau do Lop 2 === */
							trang_thai = 0;
							input_idx  = 0;
							sai_pass   = 0;
							lcd_clear(&lcd1);
							lcd_gotoxy(&lcd1, 0, 0);
							lcd_puts(&lcd1, "Mat khau DUNG!");
							lcd_gotoxy(&lcd1, 0, 1);
							lcd_puts(&lcd1, ">> Mo Cua 1...");
							HAL_Delay(800);
							HAL_GPIO_WritePin(GPIOC, GPIO_PIN_13, GPIO_PIN_RESET); /* Bat den */
							ESP_SendStatus('U'); /* Bao ESP32 mo cua 1 */
							door_lcd_updated = 0;
							door_state = 1; /* Bat dau mo cua 1 */
							door_timer = HAL_GetTick();
							/* Sau khi cua 1 dong xong, pending_layer2=1 -> Lop 2 */
						} else {
							sai_pass++;
							lcd_clear(&lcd1);
							lcd_puts(&lcd1, "Sai mat khau!");
							HAL_Delay(1000);
							if (sai_pass >= 3) {
									lcd_clear(&lcd1);
									lcd_puts(&lcd1, "Tam khoa 3s!");
									HAL_GPIO_WritePin(GPIOA, GPIO_PIN_3, GPIO_PIN_SET);
									HAL_Delay(3000);
									HAL_GPIO_WritePin(GPIOA, GPIO_PIN_3, GPIO_PIN_RESET);
									sai_pass = 0;
							}
							lcd_clear(&lcd1);
							lcd_gotoxy(&lcd1, 0, 0);
							lcd_puts(&lcd1, "Nhap mat khau:");
						}
						input_idx = 0;
				}
				else if (key == '*') {
						if (input_idx > 0) {
								input_idx--;
								input_pass[input_idx] = '\0';
								lcd_gotoxy(&lcd1, input_idx, 1);
								lcd_puts(&lcd1, " ");
								lcd_gotoxy(&lcd1, input_idx, 1);
						}
				}
				else if (key >= '0' && key <= '9') {
						if (input_idx < 20) {
								input_pass[input_idx++] = key;
								lcd_gotoxy(&lcd1, input_idx - 1, 1);
								lcd_putchar(&lcd1, '*');
						}
				}
				}
		}

} /* while*/

  /* USER CODE END 3 */
}

void SystemClock_Config(void)
{
  RCC_OscInitTypeDef RCC_OscInitStruct = {0};
  RCC_ClkInitTypeDef RCC_ClkInitStruct = {0};

  /** Initializes the RCC Oscillators according to the specified parameters
  * in the RCC_OscInitTypeDef structure.
  */
  RCC_OscInitStruct.OscillatorType = RCC_OSCILLATORTYPE_HSE;
  RCC_OscInitStruct.HSEState = RCC_HSE_ON;
  RCC_OscInitStruct.HSEPredivValue = RCC_HSE_PREDIV_DIV1;
  RCC_OscInitStruct.HSIState = RCC_HSI_ON;
  RCC_OscInitStruct.PLL.PLLState = RCC_PLL_ON;
  RCC_OscInitStruct.PLL.PLLSource = RCC_PLLSOURCE_HSE;
  RCC_OscInitStruct.PLL.PLLMUL = RCC_PLL_MUL9;
  if (HAL_RCC_OscConfig(&RCC_OscInitStruct) != HAL_OK)
  {
    Error_Handler();
  }

  /** Initializes the CPU, AHB and APB buses clocks
  */
  RCC_ClkInitStruct.ClockType = RCC_CLOCKTYPE_HCLK|RCC_CLOCKTYPE_SYSCLK
                              |RCC_CLOCKTYPE_PCLK1|RCC_CLOCKTYPE_PCLK2;
  RCC_ClkInitStruct.SYSCLKSource = RCC_SYSCLKSOURCE_PLLCLK;
  RCC_ClkInitStruct.AHBCLKDivider = RCC_SYSCLK_DIV1;
  RCC_ClkInitStruct.APB1CLKDivider = RCC_HCLK_DIV2;
  RCC_ClkInitStruct.APB2CLKDivider = RCC_HCLK_DIV1;

  if (HAL_RCC_ClockConfig(&RCC_ClkInitStruct, FLASH_LATENCY_2) != HAL_OK)
  {
    Error_Handler();
  }
}

static void MX_I2C1_Init(void)
{

  hi2c1.Instance = I2C1;
  hi2c1.Init.ClockSpeed = 100000;
  hi2c1.Init.DutyCycle = I2C_DUTYCYCLE_2;
  hi2c1.Init.OwnAddress1 = 0;
  hi2c1.Init.AddressingMode = I2C_ADDRESSINGMODE_7BIT;
  hi2c1.Init.DualAddressMode = I2C_DUALADDRESS_DISABLE;
  hi2c1.Init.OwnAddress2 = 0;
  hi2c1.Init.GeneralCallMode = I2C_GENERALCALL_DISABLE;
  hi2c1.Init.NoStretchMode = I2C_NOSTRETCH_DISABLE;
  if (HAL_I2C_Init(&hi2c1) != HAL_OK)
  {
    Error_Handler();
  }

}

static void MX_TIM1_Init(void)
{

  TIM_MasterConfigTypeDef sMasterConfig = {0};
  TIM_OC_InitTypeDef sConfigOC = {0};
  TIM_BreakDeadTimeConfigTypeDef sBreakDeadTimeConfig = {0};

  htim1.Instance = TIM1;
  htim1.Init.Prescaler = 71;
  htim1.Init.CounterMode = TIM_COUNTERMODE_UP;
  htim1.Init.Period = 999;
  htim1.Init.ClockDivision = TIM_CLOCKDIVISION_DIV1;
  htim1.Init.RepetitionCounter = 0;
  htim1.Init.AutoReloadPreload = TIM_AUTORELOAD_PRELOAD_ENABLE;
  if (HAL_TIM_PWM_Init(&htim1) != HAL_OK)
  {
    Error_Handler();
  }
  sMasterConfig.MasterOutputTrigger = TIM_TRGO_RESET;
  sMasterConfig.MasterSlaveMode = TIM_MASTERSLAVEMODE_DISABLE;
  if (HAL_TIMEx_MasterConfigSynchronization(&htim1, &sMasterConfig) != HAL_OK)
  {
    Error_Handler();
  }
  sConfigOC.OCMode = TIM_OCMODE_PWM1;
  sConfigOC.Pulse = 1000;
  sConfigOC.OCPolarity = TIM_OCPOLARITY_HIGH;
  sConfigOC.OCNPolarity = TIM_OCNPOLARITY_HIGH;
  sConfigOC.OCFastMode = TIM_OCFAST_DISABLE;
  sConfigOC.OCIdleState = TIM_OCIDLESTATE_RESET;
  sConfigOC.OCNIdleState = TIM_OCNIDLESTATE_RESET;
  if (HAL_TIM_PWM_ConfigChannel(&htim1, &sConfigOC, TIM_CHANNEL_1) != HAL_OK)
  {
    Error_Handler();
  }
  sBreakDeadTimeConfig.OffStateRunMode = TIM_OSSR_DISABLE;
  sBreakDeadTimeConfig.OffStateIDLEMode = TIM_OSSI_DISABLE;
  sBreakDeadTimeConfig.LockLevel = TIM_LOCKLEVEL_OFF;
  sBreakDeadTimeConfig.DeadTime = 0;
  sBreakDeadTimeConfig.BreakState = TIM_BREAK_DISABLE;
  sBreakDeadTimeConfig.BreakPolarity = TIM_BREAKPOLARITY_HIGH;
  sBreakDeadTimeConfig.AutomaticOutput = TIM_AUTOMATICOUTPUT_DISABLE;
  if (HAL_TIMEx_ConfigBreakDeadTime(&htim1, &sBreakDeadTimeConfig) != HAL_OK)
  {
    Error_Handler();
  }
  HAL_TIM_MspPostInit(&htim1);

}

static void MX_TIM2_Init(void)
{

  TIM_MasterConfigTypeDef sMasterConfig = {0};
  TIM_OC_InitTypeDef sConfigOC = {0};

  htim2.Instance = TIM2;
  htim2.Init.Prescaler = 71;
  htim2.Init.CounterMode = TIM_COUNTERMODE_UP;
  htim2.Init.Period = 999;
  htim2.Init.ClockDivision = TIM_CLOCKDIVISION_DIV1;
  htim2.Init.AutoReloadPreload = TIM_AUTORELOAD_PRELOAD_ENABLE;
  if (HAL_TIM_PWM_Init(&htim2) != HAL_OK)
  {
    Error_Handler();
  }
  sMasterConfig.MasterOutputTrigger = TIM_TRGO_RESET;
  sMasterConfig.MasterSlaveMode = TIM_MASTERSLAVEMODE_DISABLE;
  if (HAL_TIMEx_MasterConfigSynchronization(&htim2, &sMasterConfig) != HAL_OK)
  {
    Error_Handler();
  }
  sConfigOC.OCMode = TIM_OCMODE_PWM1;
  sConfigOC.Pulse = 0;
  sConfigOC.OCPolarity = TIM_OCPOLARITY_HIGH;
  sConfigOC.OCFastMode = TIM_OCFAST_DISABLE;
  if (HAL_TIM_PWM_ConfigChannel(&htim2, &sConfigOC, TIM_CHANNEL_2) != HAL_OK)
  {
    Error_Handler();
  }
  HAL_TIM_MspPostInit(&htim2);

}

static void MX_USART1_UART_Init(void)
{

  huart1.Instance = USART1;
  huart1.Init.BaudRate = 115200;
  huart1.Init.WordLength = UART_WORDLENGTH_8B;
  huart1.Init.StopBits = UART_STOPBITS_1;
  huart1.Init.Parity = UART_PARITY_NONE;
  huart1.Init.Mode = UART_MODE_TX_RX;
  huart1.Init.HwFlowCtl = UART_HWCONTROL_NONE;
  huart1.Init.OverSampling = UART_OVERSAMPLING_16;
  if (HAL_UART_Init(&huart1) != HAL_OK)
  {
    Error_Handler();
  }

}

static void MX_GPIO_Init(void)
{
  GPIO_InitTypeDef GPIO_InitStruct = {0};

  /* GPIO Ports Clock Enable */
  __HAL_RCC_GPIOD_CLK_ENABLE();
  __HAL_RCC_GPIOA_CLK_ENABLE();
  __HAL_RCC_GPIOB_CLK_ENABLE();

  /*Configure GPIO pin Output Level */
  HAL_GPIO_WritePin(GPIOA, buzzer_Pin|keypadA7_Pin|in2_Pin|in1_Pin, GPIO_PIN_RESET);

  /*Configure GPIO pin Output Level */
  HAL_GPIO_WritePin(GPIOB, keypadB0_Pin|keypadB1_Pin|keypadB10_Pin|in4_Pin
                          |in3_Pin, GPIO_PIN_RESET);

  /*Configure GPIO pins : sw_open_Pin sw_close_Pin */
  GPIO_InitStruct.Pin = sw_open_Pin|sw_close_Pin;
  GPIO_InitStruct.Mode = GPIO_MODE_INPUT;
  GPIO_InitStruct.Pull = GPIO_NOPULL;
  HAL_GPIO_Init(GPIOA, &GPIO_InitStruct);

  /*Configure GPIO pins : buzzer_Pin keypadA7_Pin in2_Pin in1_Pin */
  GPIO_InitStruct.Pin = buzzer_Pin|keypadA7_Pin|in2_Pin|in1_Pin;
  GPIO_InitStruct.Mode = GPIO_MODE_OUTPUT_PP;
  GPIO_InitStruct.Pull = GPIO_NOPULL;
  GPIO_InitStruct.Speed = GPIO_SPEED_FREQ_LOW;
  HAL_GPIO_Init(GPIOA, &GPIO_InitStruct);

  /*Configure GPIO pins : keypad_Pin keypadA5_Pin keypadA6_Pin IR_down_Pin */
  GPIO_InitStruct.Pin = keypad_Pin|keypadA5_Pin|keypadA6_Pin|IR_down_Pin;
  GPIO_InitStruct.Mode = GPIO_MODE_INPUT;
  GPIO_InitStruct.Pull = GPIO_PULLUP;
  HAL_GPIO_Init(GPIOA, &GPIO_InitStruct);

  /*Configure GPIO pins : keypadB0_Pin keypadB1_Pin keypadB10_Pin in4_Pin
                           in3_Pin */
  GPIO_InitStruct.Pin = keypadB0_Pin|keypadB1_Pin|keypadB10_Pin|in4_Pin
                          |in3_Pin;
  GPIO_InitStruct.Mode = GPIO_MODE_OUTPUT_PP;
  GPIO_InitStruct.Pull = GPIO_NOPULL;
  GPIO_InitStruct.Speed = GPIO_SPEED_FREQ_LOW;
  HAL_GPIO_Init(GPIOB, &GPIO_InitStruct);

  /*Configure GPIO pins : ir_sensor_Pin IR_Up_Pin */
  GPIO_InitStruct.Pin = ir_sensor_Pin|IR_Up_Pin;
  GPIO_InitStruct.Mode = GPIO_MODE_INPUT;
  GPIO_InitStruct.Pull = GPIO_PULLUP;
  HAL_GPIO_Init(GPIOB, &GPIO_InitStruct);

  /*Configure GPIO pins : sw_closeB12_Pin sw_openB13_Pin */
  GPIO_InitStruct.Pin = sw_closeB12_Pin|sw_openB13_Pin;
  GPIO_InitStruct.Mode = GPIO_MODE_INPUT;
  GPIO_InitStruct.Pull = GPIO_NOPULL;
  HAL_GPIO_Init(GPIOB, &GPIO_InitStruct);

}

/* USER CODE BEGIN 4 */

/* (Hàm MX_USART1_UART_Init đã được CubeMX tạo bên trên, không cần định nghĩa lại) */

/* USER CODE END 4 */

void Error_Handler(void)
{
  __disable_irq();
  while (1)
  {
  }
}
